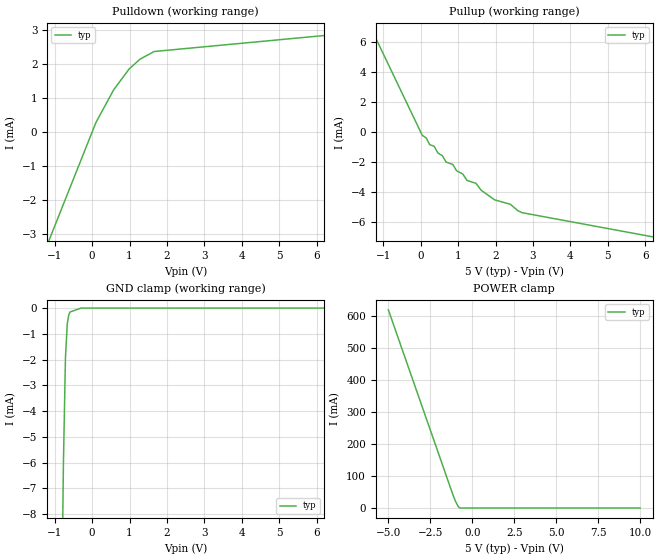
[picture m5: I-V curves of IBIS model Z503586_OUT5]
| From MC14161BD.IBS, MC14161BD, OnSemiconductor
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| (C) COPYRIGHT 1993-2000
| MENTOR GRAPHICS CORPORATION
| ICX STANDARD LIBRARY, ICX PROJECT MODELING,
| ICX CUSTOM MODELING, ICX VENDOR MODEL
| ALL RIGHTS RESERVED.
| THE FOLLOWING ARE TRADEMARKS OR SERVICE MARKS OF
| MENTOR GRAPHICS CORPORATION:ICX (R), ICX STANDARD
| LIBRARY(R), ICX PROJECT MODELING(R), ICX CUSTOM
| MODELING(R), qualityIBIS(TM), MODELVIEWER(TM),
| AND MODELEDITOR(TM)
| ALL COPIES OF SOFTWARE, INCLUDING BUT NOT LIMITED TO
| ANY MODIFICATIONS, ENHANCEMENTS OR DERIVATIVE WORKS,
| MUST CONTAIN ALL MENTOR GRAPHICS CORPORATION'S
| NOTICES AND LEGENDS, INCLUDING THOSE EMBEDDED IN
| SOFTWARE AND THOSE AFFIXED TO SOFTWARE MEDIUM
| AND CONTAINER, AS RECEIVED FROM MENTOR GRAPHICS
| CORPORATION.
| Model Application Version 1.89 2/18/99.
[Model] Z503586_OUT5
Model_type Output
Vref=0.000V
Rref=500.0Mohms
Cref=50.00pF
Vmeas=2.500V
C_comp 8.000pF NA NA
| variable typ   min   max
[Voltage Range] 5.000V NA NA
[POWER Clamp Reference] 5.000V NA NA
[Pullup Reference] 5.000V NA NA
[Pulldown Reference] 0.000V NA NA
[GND Clamp Reference] 0.000V NA NA
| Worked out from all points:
|   slope of the pulldown table from 0 to 0.75 V, typ, clamps not added: 498 ohm
|   slope of the pullup table from 0 to 0.75 V, typ, clamps not added: 362 ohm
|   GND clamp passes 1 mA (typ) near -0.68 V on its own axis
|   POWER clamp passes 1 mA (typ) near -0.75 V on its own axis
[GND Clamp]
-5V       -517.5mA   NA         NA
-766.4mV  -6.028mA   NA         NA
-712.8mV  -1.964mA   NA         NA
-663.9mV  -611.7uA   NA         NA
-626.3mV  -283.8uA   NA         NA
-591.1mV  -153.3uA   NA         NA
-295.5mV  0A         NA         NA
10V       0A         NA         NA
[Pulldown]
-5V       -13.85mA   NA         NA
102.7mV   282.8uA    NA         NA
576.2mV   1.246mA    NA         NA
987.7mV   1.857mA    NA         NA
1.283V    2.151mA    NA         NA
1.66V     2.375mA    NA         NA
10V       3.239mA    NA         NA
[Pullup]
-5V       26.19mA    NA         NA
42mV      -219uA     NA         NA
241mV     -838.9uA   NA         NA
362mV     -954.8uA   NA         NA
679mV     -2.007mA   NA         NA
859mV     -2.17mA    NA         NA
1.239V    -3.243mA   NA         NA
1.475V    -3.427mA   NA         NA
1.976V    -4.538mA   NA         NA
2.394V    -4.832mA   NA         NA
2.71V     -5.397mA   NA         NA
10V       -8.777mA   NA         NA
[POWER Clamp]
-5V       617.8mA    NA         NA
-1.162V   42.35mA    NA         NA
-1.006V   21.62mA    NA         NA
-843mV    5.197mA    NA         NA
-788mV    1.893mA    NA         NA
-709.2mV  0A         NA         NA
10V       0A         NA         NA
[Ramp]
| variable typ min max
dV/dt_r 1.508/17.96n NA NA
dV/dt_f 1.508/22.84n NA NA
R_load = 500.0Ohms
